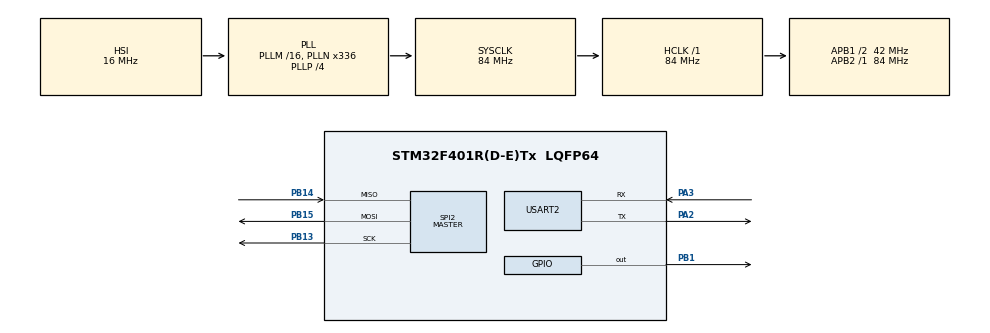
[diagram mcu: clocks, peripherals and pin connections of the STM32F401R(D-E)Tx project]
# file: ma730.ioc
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Mcu.Family=STM32F4
Mcu.Name=STM32F401R(D-E)Tx
Mcu.Package=LQFP64
NVIC.PriorityGroup=NVIC_PRIORITYGROUP_0
PA2.Mode=Asynchronous
PA2.Signal=USART2_TX
PA3.Mode=Asynchronous
PA3.Signal=USART2_RX
PB1.Signal=GPIO_Output
PB13.Mode=Full_Duplex_Master
PB13.Signal=SPI2_SCK
PB14.Mode=Full_Duplex_Master
PB14.Signal=SPI2_MISO
PB15.Mode=Full_Duplex_Master
PB15.Signal=SPI2_MOSI
ProjectManager.HeapSize=0x200
ProjectManager.StackSize=0x400
ProjectManager.TargetToolchain=STM32CubeIDE
RCC.AHBFreq_Value=84000000
RCC.APB1CLKDivider=RCC_HCLK_DIV2
RCC.APB1Freq_Value=42000000
RCC.APB1TimFreq_Value=84000000
RCC.APB2Freq_Value=84000000
RCC.APB2TimFreq_Value=84000000
RCC.CortexFreq_Value=84000000
RCC.HCLKFreq_Value=84000000
RCC.HSE_VALUE=8000000
RCC.HSI_VALUE=16000000
RCC.LSE_VALUE=32768
RCC.PLLN=336
RCC.PLLP=RCC_PLLP_DIV4
RCC.PLLQ=7
RCC.SYSCLKFreq_VALUE=84000000
RCC.SYSCLKSource=RCC_SYSCLKSOURCE_PLLCLK
RCC.VCOOutputFreq_Value=336000000
SPI2.BaudRatePrescaler=SPI_BAUDRATEPRESCALER_64
SPI2.CLKPhase=SPI_PHASE_2EDGE
SPI2.CLKPolarity=SPI_POLARITY_HIGH
SPI2.DataSize=SPI_DATASIZE_8BIT
SPI2.Direction=SPI_DIRECTION_2LINES
SPI2.Mode=SPI_MODE_MASTER
SPI2.VirtualType=VM_MASTER
USART2.VirtualMode=VM_ASYNC
board=NUCLEO-F401RE

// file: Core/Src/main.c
/* USER CODE BEGIN Header */
/**
  ******************************************************************************
  * @file           : main.c
  * @brief          : Main program body
  ******************************************************************************
  * @attention
  *
  * Copyright (c) 2023 STMicroelectronics.
  * All rights reserved.
  *
  * This software is licensed under terms that can be found in the LICENSE file
  * in the root directory of this software component.
  * If no LICENSE file comes with this software, it is provided AS-IS.
  *
  ******************************************************************************
  */
/* USER CODE END Header */
#include "main.h"

/* USER CODE BEGIN Includes */
#include <stdbool.h>
#include <string.h>
#include <stdio.h>
/* USER CODE END Includes */

SPI_HandleTypeDef hspi2;

UART_HandleTypeDef huart2;

void SystemClock_Config(void);
static void MX_GPIO_Init(void);
static void MX_SPI2_Init(void);
static void MX_USART2_UART_Init(void);

/* USER CODE BEGIN 0 */
uint16_t angle = 0;
uint16_t readMagAlphaAngle(void);
uint8_t readMagAlphaRegister(uint8_t address);
uint8_t writeMagAlphaRegister(uint8_t address, uint8_t value);
double readAngle();
/* USER CODE END 0 */

int main(void)
{
  /* USER CODE BEGIN 1 */
	uint8_t uartTxData[100];
	  uint32_t uartTimeoutInMs = 100;
	  uint8_t readbackRegValue;

  /* USER CODE END 1 */

  /* MCU Configuration--------------------------------------------------------*/

  /* Reset of all peripherals, Initializes the Flash interface and the Systick. */
  HAL_Init();

  /* Configure the system clock */
  SystemClock_Config();

  /* Initialize all configured peripherals */
  MX_GPIO_Init();
  MX_SPI2_Init();
  MX_USART2_UART_Init();
  /* USER CODE BEGIN 2 */
  HAL_GPIO_WritePin(GPIOB, GPIO_PIN_1, GPIO_PIN_SET);

  sprintf((char *)uartTxData, "Start Program\n");
  HAL_UART_Transmit(&huart2, uartTxData, strlen((const char *)uartTxData), uartTimeoutInMs);

  writeMagAlphaRegister(0x00, 0x00);
  readbackRegValue=readMagAlphaRegister(0x00);
  sprintf((char *)uartTxData, "0x00 = 0x%02x\n", readbackRegValue);
  HAL_UART_Transmit(&huart2, uartTxData, strlen((const char *)uartTxData), uartTimeoutInMs);

  readbackRegValue=readMagAlphaRegister(0x01);
  sprintf((char *)uartTxData, "0x01 = 0x%02x\n", readbackRegValue);
  HAL_UART_Transmit(&huart2, uartTxData, strlen((const char *)uartTxData), uartTimeoutInMs);

  readbackRegValue=readMagAlphaRegister(0x02);
  sprintf((char *)uartTxData, "0x02 = 0x%02x\n", readbackRegValue);
  HAL_UART_Transmit(&huart2, uartTxData, strlen((const char *)uartTxData), uartTimeoutInMs);

  readbackRegValue=readMagAlphaRegister(0x03);
  sprintf((char *)uartTxData, "0x03 = 0x%02x\n", readbackRegValue);
  HAL_UART_Transmit(&huart2, uartTxData, strlen((const char *)uartTxData), uartTimeoutInMs);

  readbackRegValue=readMagAlphaRegister(0x04);
  sprintf((char *)uartTxData, "0x04 = 0x%02x\n", readbackRegValue);
  HAL_UART_Transmit(&huart2, uartTxData, strlen((const char *)uartTxData), uartTimeoutInMs);

  readbackRegValue=readMagAlphaRegister(0x05);
  sprintf((char *)uartTxData, "0x05 = 0x%02x\n", readbackRegValue);
  HAL_UART_Transmit(&huart2, uartTxData, strlen((const char *)uartTxData), uartTimeoutInMs);

  readbackRegValue=readMagAlphaRegister(0x06);
  sprintf((char *)uartTxData, "0x06 = 0x%02x\n", readbackRegValue);
  HAL_UART_Transmit(&huart2, uartTxData, strlen((const char *)uartTxData), uartTimeoutInMs);

  readbackRegValue=readMagAlphaRegister(0x09);
  sprintf((char *)uartTxData, "0x09 = 0x%02x\n", readbackRegValue);
  HAL_UART_Transmit(&huart2, uartTxData, strlen((const char *)uartTxData), uartTimeoutInMs);

  readbackRegValue=readMagAlphaRegister(0x1b);
  sprintf((char *)uartTxData, "0x1b = 0x%02x\n", readbackRegValue);
  HAL_UART_Transmit(&huart2, uartTxData, strlen((const char *)uartTxData), uartTimeoutInMs);

  angle = readMagAlphaAngle();
  sprintf((char *)uartTxData, "angle = 0x%x\n", angle);
  HAL_UART_Transmit(&huart2, uartTxData, strlen((const char *)uartTxData), uartTimeoutInMs);
  /* USER CODE END 2 */

  /* Infinite loop */
  /* USER CODE BEGIN WHILE */
  while (1)
  {
	  //readAngle();
	  angle = readMagAlphaAngle();
	    sprintf((char *)uartTxData, "%d\n", angle);
	    HAL_UART_Transmit(&huart2, uartTxData, strlen((const char *)uartTxData), uartTimeoutInMs);
    /* USER CODE END WHILE */

  }
}

void SystemClock_Config(void)
{
  RCC_OscInitTypeDef RCC_OscInitStruct = {0};
  RCC_ClkInitTypeDef RCC_ClkInitStruct = {0};

  /** Configure the main internal regulator output voltage
  */
  __HAL_RCC_PWR_CLK_ENABLE();
  __HAL_PWR_VOLTAGESCALING_CONFIG(PWR_REGULATOR_VOLTAGE_SCALE2);

  /** Initializes the RCC Oscillators according to the specified parameters
  * in the RCC_OscInitTypeDef structure.
  */
  RCC_OscInitStruct.OscillatorType = RCC_OSCILLATORTYPE_HSI;
  RCC_OscInitStruct.HSIState = RCC_HSI_ON;
  RCC_OscInitStruct.HSICalibrationValue = RCC_HSICALIBRATION_DEFAULT;
  RCC_OscInitStruct.PLL.PLLState = RCC_PLL_ON;
  RCC_OscInitStruct.PLL.PLLSource = RCC_PLLSOURCE_HSI;
  RCC_OscInitStruct.PLL.PLLM = 16;
  RCC_OscInitStruct.PLL.PLLN = 336;
  RCC_OscInitStruct.PLL.PLLP = RCC_PLLP_DIV4;
  RCC_OscInitStruct.PLL.PLLQ = 7;
  if (HAL_RCC_OscConfig(&RCC_OscInitStruct) != HAL_OK)
  {
    Error_Handler();
  }

  /** Initializes the CPU, AHB and APB buses clocks
  */
  RCC_ClkInitStruct.ClockType = RCC_CLOCKTYPE_HCLK|RCC_CLOCKTYPE_SYSCLK
                              |RCC_CLOCKTYPE_PCLK1|RCC_CLOCKTYPE_PCLK2;
  RCC_ClkInitStruct.SYSCLKSource = RCC_SYSCLKSOURCE_PLLCLK;
  RCC_ClkInitStruct.AHBCLKDivider = RCC_SYSCLK_DIV1;
  RCC_ClkInitStruct.APB1CLKDivider = RCC_HCLK_DIV2;
  RCC_ClkInitStruct.APB2CLKDivider = RCC_HCLK_DIV1;

  if (HAL_RCC_ClockConfig(&RCC_ClkInitStruct, FLASH_LATENCY_2) != HAL_OK)
  {
    Error_Handler();
  }
}

static void MX_SPI2_Init(void)
{

  /* SPI2 parameter configuration*/
  hspi2.Instance = SPI2;
  hspi2.Init.Mode = SPI_MODE_MASTER;
  hspi2.Init.Direction = SPI_DIRECTION_2LINES;
  hspi2.Init.DataSize = SPI_DATASIZE_8BIT;
  hspi2.Init.CLKPolarity = SPI_POLARITY_HIGH;
  hspi2.Init.CLKPhase = SPI_PHASE_2EDGE;
  hspi2.Init.NSS = SPI_NSS_SOFT;
  hspi2.Init.BaudRatePrescaler = SPI_BAUDRATEPRESCALER_64;
  hspi2.Init.FirstBit = SPI_FIRSTBIT_MSB;
  hspi2.Init.TIMode = SPI_TIMODE_DISABLE;
  hspi2.Init.CRCCalculation = SPI_CRCCALCULATION_DISABLE;
  hspi2.Init.CRCPolynomial = 7;
  if (HAL_SPI_Init(&hspi2) != HAL_OK)
  {
    Error_Handler();
  }

}

static void MX_USART2_UART_Init(void)
{

  huart2.Instance = USART2;
  huart2.Init.BaudRate = 115200;
  huart2.Init.WordLength = UART_WORDLENGTH_8B;
  huart2.Init.StopBits = UART_STOPBITS_1;
  huart2.Init.Parity = UART_PARITY_NONE;
  huart2.Init.Mode = UART_MODE_TX_RX;
  huart2.Init.HwFlowCtl = UART_HWCONTROL_NONE;
  huart2.Init.OverSampling = UART_OVERSAMPLING_16;
  if (HAL_UART_Init(&huart2) != HAL_OK)
  {
    Error_Handler();
  }

}

static void MX_GPIO_Init(void)
{
  GPIO_InitTypeDef GPIO_InitStruct = {0};

  /* GPIO Ports Clock Enable */
  __HAL_RCC_GPIOA_CLK_ENABLE();
  __HAL_RCC_GPIOB_CLK_ENABLE();

  /*Configure GPIO pin Output Level */
  HAL_GPIO_WritePin(GPIOB, GPIO_PIN_1, GPIO_PIN_RESET);

  /*Configure GPIO pin : PB1 */
  GPIO_InitStruct.Pin = GPIO_PIN_1;
  GPIO_InitStruct.Mode = GPIO_MODE_OUTPUT_PP;
  GPIO_InitStruct.Pull = GPIO_NOPULL;
  GPIO_InitStruct.Speed = GPIO_SPEED_FREQ_LOW;
  HAL_GPIO_Init(GPIOB, &GPIO_InitStruct);

}

/* USER CODE BEGIN 4 */
uint16_t readMagAlphaAngle(void)
{
  uint32_t timeout=10;
  uint8_t txData[2];
  uint8_t rxData[2];
  txData[1]=0;
  txData[0]=0;
  uint16_t angleSensor;
  HAL_GPIO_WritePin(GPIOB, GPIO_PIN_1, GPIO_PIN_RESET);
  HAL_SPI_TransmitReceive(&hspi2, txData, rxData, 2, timeout);
  HAL_GPIO_WritePin(GPIOB, GPIO_PIN_1, GPIO_PIN_SET);
  angleSensor=rxData[0]<<8 | rxData[1];
  return angleSensor;
}

double readAngle(){
  uint16_t angle;
  double angleInDegree;
  angle = readMagAlphaAngle();
  angleInDegree = (angle*360.0)/65536.0;
  return angleInDegree;
}

uint8_t readMagAlphaRegister(uint8_t address)
{
  uint32_t timeout=10;
  uint32_t delay=1;//ms
  uint8_t txData1[2];
  uint8_t rxData1[2];
  uint8_t txData2[2];
  uint8_t rxData2[2];
  txData1[0]=(0x2<<5)|(0x1F&address);
  txData1[1]=0x00;
  txData2[0]=0x00;
  txData2[1]=0x00;
  uint8_t registerReadbackValue;
  HAL_GPIO_WritePin(GPIOB, GPIO_PIN_1, GPIO_PIN_RESET);
  HAL_SPI_TransmitReceive(&hspi2, txData1, rxData1, 2, timeout);
  HAL_GPIO_WritePin(GPIOB, GPIO_PIN_1, GPIO_PIN_SET);
  HAL_Delay(delay);
  HAL_GPIO_WritePin(GPIOB, GPIO_PIN_1, GPIO_PIN_RESET);
  HAL_SPI_TransmitReceive(&hspi2, txData2, rxData2, 2, timeout);
  HAL_GPIO_WritePin(GPIOB, GPIO_PIN_1, GPIO_PIN_SET);
  registerReadbackValue=rxData2[0];
  return registerReadbackValue;
}

uint8_t writeMagAlphaRegister(uint8_t address, uint8_t value)
{
  uint32_t timeout=10;
  uint32_t delay=20;//ms
  uint8_t txData1[2];
  uint8_t rxData1[2];
  uint8_t txData2[2];
  uint8_t rxData2[2];
  txData1[0]=(0x4<<5)|(0x1F&address);
  txData1[1]=value;
  txData2[0]=0x00;
  txData2[1]=0x00;
  uint8_t registerReadbackValue;
  HAL_GPIO_WritePin(GPIOB, GPIO_PIN_1, GPIO_PIN_RESET);
  HAL_SPI_TransmitReceive(&hspi2, txData1, rxData1, 2, timeout);
  HAL_GPIO_WritePin(GPIOB, GPIO_PIN_1, GPIO_PIN_SET);
  HAL_Delay(delay);
  HAL_GPIO_WritePin(GPIOB, GPIO_PIN_1, GPIO_PIN_RESET);
  HAL_SPI_TransmitReceive(&hspi2, txData2, rxData2, 2, timeout);
  HAL_GPIO_WritePin(GPIOB, GPIO_PIN_1, GPIO_PIN_SET);
  registerReadbackValue=rxData2[0];
  return registerReadbackValue;
}
/* USER CODE END 4 */

void Error_Handler(void)
{
  __disable_irq();
  while (1)
  {
  }
}
